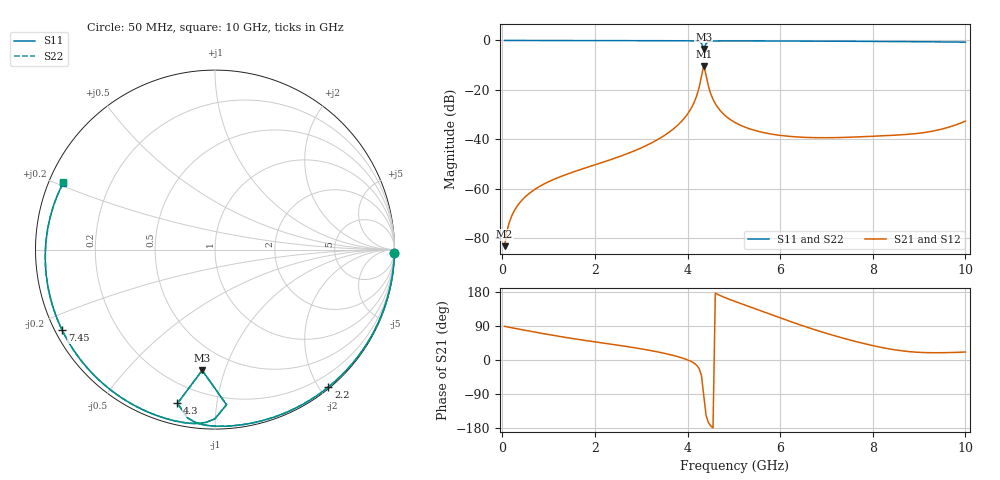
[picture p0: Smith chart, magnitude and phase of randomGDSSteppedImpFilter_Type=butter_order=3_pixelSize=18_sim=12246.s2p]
! freq	dB(S11)	phase(S11)	dB(S12)	phase(S12)
!  dB(S21)	phase(S21)	dB(S22)	phase(S22)
!S-par simulation data
#  GHz  S  DB  R 50
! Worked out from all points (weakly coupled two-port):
!   200 points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, 50 MHz to 10 GHz, reference 50 ohm
!   highest |S21| = -10.30 dB at 4.35 GHz (marker M1); lowest = -83.2 dB at 50 MHz (marker M2)
!   lowest |S11| = -3.4 dB at 4.35 GHz (marker M3), VSWR 5.18, Z = 16.9 - j42 ohm
!   |S11| at or under -10 dB: nowhere
!   |S22| runs from -3.4 to 0.0 dB; largest |S21 - S12| = 0
!   S11 on the Smith chart (normalised r, x): 50 MHz: 1, -96; 2.2 GHz: 0.02, -2.12; 4.3 GHz: 0.10, -0.78; 7.45 GHz: 0.02, -0.25; 10 GHz: 0.04, +0.21
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0.05  -0.00 -1.2  -83.21 88.7  -83.21 88.7  -0.00 -1.2
0.25  -0.01 -5.9  -69.21 84.0  -69.21 84.0  -0.01 -5.9
0.5  -0.01 -11.7  -63.19 78.2  -63.19 78.2  -0.01 -11.7
1  -0.03 -23.3  -57.14 67.2  -57.14 67.2  -0.03 -23.3
1.75  -0.05 -40.5  -51.83 52.3  -51.83 52.3  -0.05 -40.5
2.2  -0.06 -50.5  -49.10 44.3  -49.10 44.3  -0.06 -50.5
3.4  -0.10 -76.4  -39.61 20.3  -39.61 20.3  -0.10 -76.4
4  -0.14 -89.8  -29.77 0.4  -29.77 0.4  -0.14 -89.9
4.2  -0.27 -96.4  -22.28 -14.2  -22.28 -14.2  -0.27 -96.4
4.3  -1.09 -103.7  -14.51 -40.9  -14.51 -40.9  -1.09 -103.7
4.35  -3.39 -96.1  -10.30 -92.2  -10.30 -92.2  -3.39 -96.1
4.4  -1.24 -85.7  -14.03 -145.7  -14.03 -145.7  -1.24 -85.8
4.45  -0.51 -90.1  -18.43 -164.9  -18.43 -164.9  -0.51 -90.1
4.6  -0.21 -96.7  -25.57 176.6  -25.57 176.6  -0.21 -96.7
4.8  -0.18 -101.8  -30.18 165.1  -30.18 165.1  -0.18 -101.8
5.05  -0.18 -107.1  -33.44 153.4  -33.44 153.4  -0.18 -107.1
5.75  -0.21 -120.7  -37.67 122.3  -37.67 122.3  -0.21 -120.7
6.7  -0.27 -138.4  -39.30 81.8  -39.30 81.8  -0.27 -138.4
7.45  -0.33 -152.2  -39.18 54.6  -39.18 54.6  -0.33 -152.2
8.35  -0.42 -169.1  -38.44 29.4  -38.44 29.4  -0.42 -169.1
9.3  -0.55 171.9  -36.66 19.2  -36.66 19.2  -0.55 171.8
10  -0.69 156.2  -32.63 21.1  -32.63 21.1  -0.69 156.1
